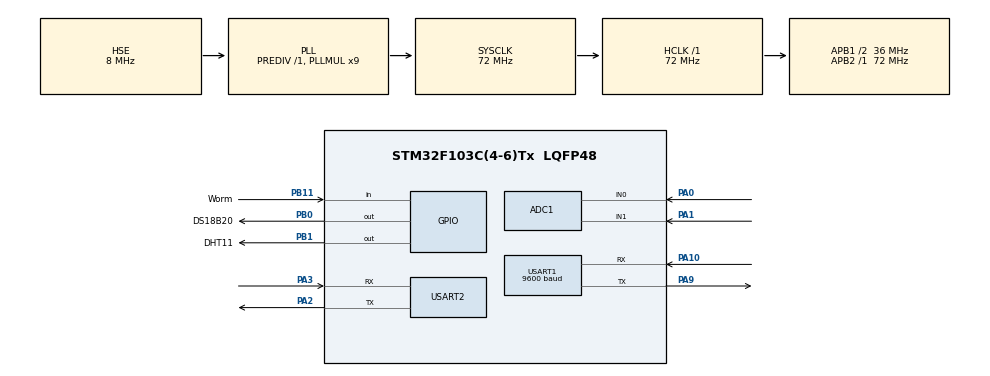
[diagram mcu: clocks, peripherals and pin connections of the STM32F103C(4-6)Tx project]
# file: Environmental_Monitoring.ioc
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ADC1.Channel-0\#ChannelRegularConversion=ADC_CHANNEL_0
ADC1.Channel-1\#ChannelRegularConversion=ADC_CHANNEL_1
ADC1.DiscontinuousConvMode=ENABLE
ADC1.NbrOfConversion=2
ADC1.NbrOfConversionFlag=1
ADC1.Rank-0\#ChannelRegularConversion=1
ADC1.Rank-1\#ChannelRegularConversion=2
ADC1.SamplingTime-0\#ChannelRegularConversion=ADC_SAMPLETIME_1CYCLE_5
ADC1.SamplingTime-1\#ChannelRegularConversion=ADC_SAMPLETIME_1CYCLE_5
ADC1.master=1
Mcu.Family=STM32F1
Mcu.Name=STM32F103C(4-6)Tx
Mcu.Package=LQFP48
NVIC.PriorityGroup=NVIC_PRIORITYGROUP_2
NVIC.TIM1_UP_IRQn=true\:1\:1\:true\:false\:true\:true\:true\:true
NVIC.USART1_IRQn=true\:1\:1\:true\:false\:true\:true\:true\:true
NVIC.USART2_IRQn=true\:1\:1\:true\:false\:true\:true\:true\:true
PA0-WKUP.Signal=ADCx_IN0
PA1.Signal=ADCx_IN1
PA10.Mode=Asynchronous
PA10.Signal=USART1_RX
PA13.Mode=Serial_Wire
PA13.Signal=SYS_JTMS-SWDIO
PA14.Mode=Serial_Wire
PA14.Signal=SYS_JTCK-SWCLK
PA2.Mode=Asynchronous
PA2.Signal=USART2_TX
PA3.Mode=Asynchronous
PA3.Signal=USART2_RX
PA9.Mode=Asynchronous
PA9.Signal=USART1_TX
PB0.GPIO_Label=DS18B20
PB0.GPIO_PuPd=GPIO_PULLUP
PB0.GPIO_Speed=GPIO_SPEED_FREQ_HIGH
PB0.Signal=GPIO_Output
PB1.GPIO_Label=DHT11
PB1.GPIO_ModeDefaultOutputPP=GPIO_MODE_OUTPUT_PP
PB1.GPIO_PuPd=GPIO_PULLUP
PB1.GPIO_Speed=GPIO_SPEED_FREQ_HIGH
PB1.Signal=GPIO_Output
PB11.GPIO_Label=Worm
PB11.GPIO_PuPd=GPIO_PULLDOWN
PB11.Signal=GPIO_Input
PD0-OSC_IN.Mode=HSE-External-Oscillator
PD0-OSC_IN.Signal=RCC_OSC_IN
PD1-OSC_OUT.Mode=HSE-External-Oscillator
PD1-OSC_OUT.Signal=RCC_OSC_OUT
ProjectManager.HeapSize=0x200
ProjectManager.StackSize=0x400
ProjectManager.TargetToolchain=MDK-ARM V5.32
RCC.ADCPresc=RCC_ADCPCLK2_DIV6
RCC.AHBFreq_Value=72000000
RCC.APB1CLKDivider=RCC_HCLK_DIV2
RCC.APB1Freq_Value=36000000
RCC.APB1TimFreq_Value=72000000
RCC.APB2Freq_Value=72000000
RCC.APB2TimFreq_Value=72000000
RCC.HCLKFreq_Value=72000000
RCC.PLLMUL=RCC_PLL_MUL9
RCC.PLLSourceVirtual=RCC_PLLSOURCE_HSE
RCC.SYSCLKFreq_VALUE=72000000
RCC.SYSCLKSource=RCC_SYSCLKSOURCE_PLLCLK
RCC.USBFreq_Value=72000000
SH.ADCx_IN0.0=ADC1_IN0,IN0
SH.ADCx_IN1.0=ADC1_IN1,IN1
TIM1.AutoReloadPreload=TIM_AUTORELOAD_PRELOAD_ENABLE
TIM1.Period=4999
TIM1.Prescaler=7199
TIM2.Prescaler=71
USART1.BaudRate=9600
USART1.VirtualMode=VM_ASYNC
USART2.VirtualMode=VM_ASYNC
VP_TIM1_VS_ClockSourceINT.Mode=Internal
VP_TIM2_VS_ClockSourceINT.Mode=Internal
board=custom

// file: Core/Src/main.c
/* USER CODE BEGIN Header */
/**
  ******************************************************************************
  * @file           : main.c
  * @brief          : Main program body
  ******************************************************************************
  * @attention
  *
  * <h2><center>&copy; Copyright (c) 2022 STMicroelectronics.
  * All rights reserved.</center></h2>
  *
  * This software component is licensed by ST under BSD 3-Clause license,
  * the "License"; You may not use this file except in compliance with the
  * License. You may obtain a copy of the License at:
  *                        opensource.org/licenses/BSD-3-Clause
  *
  ******************************************************************************
  */
/* USER CODE END Header */
#include "main.h"
#include "adc.h"
#include "tim.h"
#include "usart.h"
#include "gpio.h"

/* USER CODE BEGIN Includes */
#include "stdio.h"
#include "DHT11.h"
#include "DS18B20.h"
/* USER CODE END Includes */

/* USER CODE BEGIN PV */
Monitor_Data_TypeDef monitor;
extern unsigned char PH_RX_BUF[];
extern unsigned short int PH_RX_STA;
unsigned char PH_DATA[8] = {0x01,0x03,0x00,0x08,0x00,0x01,0x05,0xc8};
/* USER CODE END PV */

void SystemClock_Config(void);

/* USER CODE BEGIN 0 */
#ifdef __GNUC__
#define PUTCHAR_PROTOTYPE int __io_putchar(int ch)
#else
#define PUTCHAR_PROTOTYPE int fputc(int ch, FILE *f)
#endif
PUTCHAR_PROTOTYPE
{
    // HAL库函数版本
    // HAL_UART_Transmit(&huart1, (uint8_t *)&ch, 1 , 0xffff);
    // return ch;

    // 寄存器版本
    while ((USART2->SR & 0X40) == 0);
    USART2->DR = (uint8_t) ch;
    return ch;
}

/* USER CODE END 0 */

int main(void)
{
  /* USER CODE BEGIN 1 */
	int soil_temp = 0;
	float air_temp=0,soil_humi=0;
  /* USER CODE END 1 */

  /* MCU Configuration--------------------------------------------------------*/

  /* Reset of all peripherals, Initializes the Flash interface and the Systick. */
  HAL_Init();

  /* Configure the system clock */
  SystemClock_Config();

  /* Initialize all configured peripherals */
  MX_GPIO_Init();
  MX_USART1_UART_Init();
  MX_USART2_UART_Init();
  MX_ADC1_Init();
  MX_TIM2_Init();
  MX_TIM1_Init();
  /* USER CODE BEGIN 2 */
	HAL_ADCEx_Calibration_Start(&hadc1);    //AD校准
	HAL_TIM_Base_Start_IT(&htim1);
	HAL_UART_Receive_IT(&huart1, (uint8_t *)PH_RX_BUF, 1);
  /* USER CODE END 2 */

  /* Infinite loop */
  while (1)
  {

    /* USER CODE BEGIN 3 */
		// 温湿度数据获取
		Read_DHT11(&monitor);

		HAL_ADC_Start(&hadc1);
		HAL_ADC_PollForConversion(&hadc1,50);//等待ADC转换完成
		monitor.Illumination = HAL_ADC_GetValue(&hadc1)*100/4096;

		HAL_ADC_Start(&hadc1);
		HAL_ADC_PollForConversion(&hadc1,50);//等待ADC转换完成
		soil_humi = HAL_ADC_GetValue(&hadc1)*3.3f/4096;
		HAL_ADC_Stop(&hadc1);

		HAL_Delay(1000);
		float_to_int_deci(&monitor,soil_humi);
		monitor.Worm= Worm_Get?1:0;
		if(DS18B20_CheckDevice() == 0)
		{

			soil_temp = DS18B20_GetTemperature();
			monitor.soiltemp_int = soil_temp>>4 ;          /*合成实际温度整数部分****精度相对上面的更高*/
			monitor.soiltemp_deci = soil_temp&0xF ;         /*合成实际温度小数部分*/
		}

		if(PH_RX_STA ==  0x0007)
		{
//			printf("PH_MODEL_OK!\r\n");
			unsigned short int PH = 0;
			PH = (unsigned short int)PH_RX_BUF[3]<<8 | PH_RX_BUF[4];
			monitor.ph_int = PH/10;
			monitor.ph_deci = PH%10;
			PH_RX_STA = 0;
		}
//		printf("Illumination = %d,PH = %d.%d\r\n",monitor.Illumination,monitor.ph_int,monitor.ph_deci);
//		printf("soil_temp = %d.%d,soilhumi = %d.%d\r\n",monitor.soiltemp_int,monitor.soiltemp_deci,monitor.soilhumi_int,monitor.soilhumi_deci);
//		printf("air_humi = %d.%d,air_temp = %d.%d\r\n",monitor.air_humi_int,monitor.air_humi_deci,monitor.air_temp_int,monitor.air_temp_deci);

  }
  /* USER CODE END 3 */
}

void SystemClock_Config(void)
{
  RCC_OscInitTypeDef RCC_OscInitStruct = {0};
  RCC_ClkInitTypeDef RCC_ClkInitStruct = {0};
  RCC_PeriphCLKInitTypeDef PeriphClkInit = {0};

  /** Initializes the RCC Oscillators according to the specified parameters
  * in the RCC_OscInitTypeDef structure.
  */
  RCC_OscInitStruct.OscillatorType = RCC_OSCILLATORTYPE_HSE;
  RCC_OscInitStruct.HSEState = RCC_HSE_ON;
  RCC_OscInitStruct.HSEPredivValue = RCC_HSE_PREDIV_DIV1;
  RCC_OscInitStruct.HSIState = RCC_HSI_ON;
  RCC_OscInitStruct.PLL.PLLState = RCC_PLL_ON;
  RCC_OscInitStruct.PLL.PLLSource = RCC_PLLSOURCE_HSE;
  RCC_OscInitStruct.PLL.PLLMUL = RCC_PLL_MUL9;
  if (HAL_RCC_OscConfig(&RCC_OscInitStruct) != HAL_OK)
  {
    Error_Handler();
  }
  /** Initializes the CPU, AHB and APB buses clocks
  */
  RCC_ClkInitStruct.ClockType = RCC_CLOCKTYPE_HCLK|RCC_CLOCKTYPE_SYSCLK
                              |RCC_CLOCKTYPE_PCLK1|RCC_CLOCKTYPE_PCLK2;
  RCC_ClkInitStruct.SYSCLKSource = RCC_SYSCLKSOURCE_PLLCLK;
  RCC_ClkInitStruct.AHBCLKDivider = RCC_SYSCLK_DIV1;
  RCC_ClkInitStruct.APB1CLKDivider = RCC_HCLK_DIV2;
  RCC_ClkInitStruct.APB2CLKDivider = RCC_HCLK_DIV1;

  if (HAL_RCC_ClockConfig(&RCC_ClkInitStruct, FLASH_LATENCY_2) != HAL_OK)
  {
    Error_Handler();
  }
  PeriphClkInit.PeriphClockSelection = RCC_PERIPHCLK_ADC;
  PeriphClkInit.AdcClockSelection = RCC_ADCPCLK2_DIV6;
  if (HAL_RCCEx_PeriphCLKConfig(&PeriphClkInit) != HAL_OK)
  {
    Error_Handler();
  }
}

/* USER CODE BEGIN 4 */
void float_to_int_deci(Monitor_Data_TypeDef *monitor,float soil_humi)
{
	monitor->soilhumi_int = (int)soil_humi;
	monitor->soilhumi_deci = (int)(soil_humi*100)%100;
}

/*
 * 一次完整的数据传输为40bit，高位先出
 * 8bit 湿度整数 + 8bit 湿度小数 + 8bit 温度整数 + 8bit 温度小数 + 8bit 校验和
 */
uint8_t Read_DHT11(Monitor_Data_TypeDef *monitor)
{
	DHT11_Start();
	DAT_IN();

	/*判断从机是否有低电平响应信号 如不响应则跳出，响应则向下运行*/
	if(HAL_GPIO_ReadPin(DHT11_GPIO_Port, DHT11_DAT_GPIO_Pin) == 0)
	{
		/*轮询直到从机发出 的50us 低电平 响应信号结束*/
		while(HAL_GPIO_ReadPin(DHT11_GPIO_Port, DHT11_DAT_GPIO_Pin)==0);

		/*轮询直到从机发出的 30us 高电平 标置信号结束*/
		while(HAL_GPIO_ReadPin(DHT11_GPIO_Port, DHT11_DAT_GPIO_Pin)==1);
		/*开始接收数据*/
		monitor->air_humi_int= Read_Byte();

		monitor->air_humi_deci= Read_Byte();

		monitor->air_temp_int= Read_Byte();

		monitor->air_temp_deci= Read_Byte();

		monitor->air_check_sum= Read_Byte();

		/*读取结束，引脚改为输出模式*/
		DAT_OUT();
		/*主机拉高*/
		HAL_GPIO_WritePin(DHT11_GPIO_Port, DHT11_DAT_GPIO_Pin, GPIO_PIN_SET);

		/*检查读取的数据是否正确*/
		if(monitor->air_check_sum == monitor->air_humi_int + monitor->air_humi_deci + monitor->air_temp_int+ monitor->air_temp_deci)
			return SUCCESS;
		else
			return ERROR;
	}
	else
	{
		return ERROR;
	}

	DHT11_Stop();
}
/* USER CODE END 4 */

void Error_Handler(void)
{
  __disable_irq();
  while (1)
  {
  }
}

/************************ (C) COPYRIGHT STMicroelectronics *****END OF FILE****/
